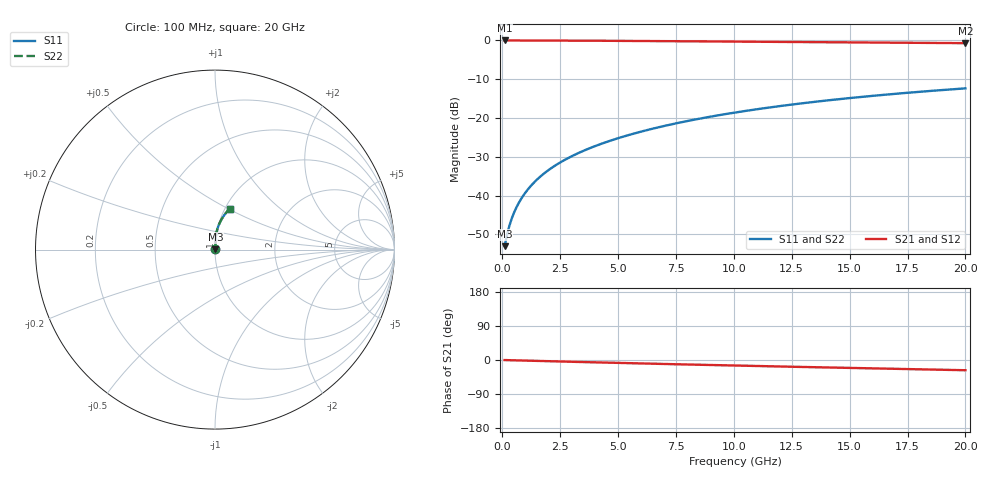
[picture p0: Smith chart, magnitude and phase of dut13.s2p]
! Touchstone file exported from HFSS 2024.1.0
!  File:  C:/UserFiles/LocalFiles/RDL_TSV_Batchsim/temp_RDL_bottom_13_1778691373.aedt
!  Generated:  12:58:43 AM May 14, 2026
!  Design:  RDL_bottom
!  Project:  temp_RDL_bottom_13_1778691373
!  Setup:  Setup1
!  Solution:  Sweep
! Variables:
!  dtsv = 10.80580581um
!  hbump = 3um
!  htsv = 82.07um
!  ldown = 397.13um
!  lrdl = 100um
!  p = 40
!  p1 = 42.22um
!  rhole = 1um
!  t = 450um
!  tdown = 3.82um
!  trdl = 3.915915916um
!  wdown = 22.02um
!  wrdl = 20um
# GHz S MA R 50.000000
! Terminal data exported
! Port[1] = RDL1_T1
! Port[2] = RDL1_T2
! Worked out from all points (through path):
!   200 points, 100 MHz to 20 GHz, reference 50 ohm
!   highest |S21| = -0.02 dB at 100 MHz (marker M1); lowest = -0.7 dB at 20 GHz (marker M2)
!   group delay of S21, straight-line fit = 3.71 ps
!   lowest |S11| = -53.0 dB at 100 MHz (marker M3), VSWR 1.00, Z = 50.2 + j0.121 ohm
!   |S11| at or under -10 dB: start of sweep to end of sweep
!   |S22| runs from -53.0 to -12.4 dB; largest |S21 - S12| = 2.1e-15
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0.1  0.00223 32.8  0.9981 -0.2  0.9981 -0.2  0.00223 32.8
! Gamma 0 0 0 0
! Port Impedance 50 0 50 0
0.2  0.003076 50.0  0.998 -0.3  0.998 -0.3  0.003076 50.0
0.3  0.004027 58.8  0.9979 -0.5  0.9979 -0.5  0.004027 58.8
0.4  0.004993 64.3  0.9977 -0.7  0.9977 -0.7  0.004993 64.3
0.5  0.005965 68.0  0.9976 -0.8  0.9976 -0.8  0.005965 68.0
0.6  0.006945 70.9  0.9975 -1.0  0.9975 -1.0  0.006944 70.9
0.8  0.00893 74.9  0.9973 -1.3  0.9973 -1.3  0.00893 74.9
1.1  0.01197 78.6  0.997 -1.7  0.997 -1.7  0.01197 78.6
1.3  0.01403 80.3  0.9967 -2.1  0.9967 -2.1  0.01403 80.3
1.6  0.01715 82.1  0.9963 -2.5  0.9963 -2.5  0.01715 82.1
2.1  0.02243 84.0  0.9953 -3.3  0.9953 -3.3  0.02243 84.0
2.7  0.0289 85.3  0.9939 -4.2  0.9939 -4.2  0.0289 85.3
3.5  0.03772 86.3  0.9917 -5.5  0.9917 -5.5  0.03772 86.3
4.2  0.04564 86.7  0.9894 -6.5  0.9894 -6.5  0.04564 86.7
5  0.05491 86.8  0.9864 -7.7  0.9864 -7.7  0.05491 86.8
6.8  0.07658 86.2  0.9791 -10.2  0.9791 -10.2  0.07658 86.2
8.4  0.09656 84.9  0.9721 -12.4  0.9721 -12.4  0.09656 84.9
10.1  0.1182 83.2  0.9646 -14.7  0.9646 -14.7  0.1182 83.2
11.7  0.1387 81.3  0.9576 -16.8  0.9576 -16.8  0.1387 81.3
13.4  0.1604 79.1  0.9501 -18.9  0.9501 -18.9  0.1604 79.1
16.7  0.2016 74.7  0.9358 -23.0  0.9358 -23.0  0.2016 74.7
20  0.241 70.3  0.9214 -27.0  0.9214 -27.0  0.2409 70.3
